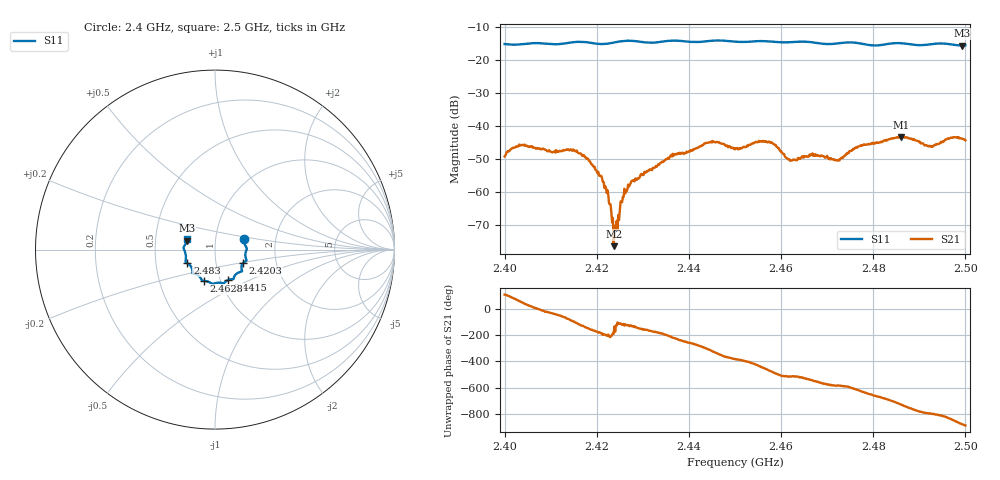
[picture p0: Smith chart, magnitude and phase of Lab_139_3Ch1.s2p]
# Hz S RI R 50
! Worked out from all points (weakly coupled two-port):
!   601 points, 2.4 GHz to 2.5 GHz, reference 50 ohm
!   highest |S21| = -43.33 dB at 2.486 GHz (marker M1); lowest = -76.3 dB at 2.4237 GHz (marker M2)
!   lowest |S11| = -15.7 dB at 2.4993 GHz (marker M3), VSWR 1.39, Z = 36.4 + j3.67 ohm
!   |S11| at or under -10 dB: start of sweep to end of sweep
!   S12 and S22 are empty: the file has one direction only
!   S11 on the Smith chart (normalised r, x): 2.4 GHz: 1.38, +0.16; 2.4203 GHz: 1.35, -0.21; 2.4415 GHz: 1.09, -0.38; 2.4628 GHz: 0.83, -0.30; 2.483 GHz: 0.73, -0.11; 2.5 GHz: 0.73, +0.09
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2.4e9  0.1624 0.0563  -0.00109 0.00328  0 0  0 0
2.403667e9  0.1693 0.0214  0.0032 0.00395  0 0  0 0
2.416667e9  0.1753 -0.062  -0.00231 -0.00297  0 0  0 0
2.420333e9  0.1561 -0.0747  -0.00202 3.11e-05  0 0  0 0
2.422e9  0.1487 -0.0887  -0.00107 0.000441  0 0  0 0
2.423667e9  0.1475 -0.1048  -0.000151 2.68e-05  0 0  0 0
2.424167e9  0.1482 -0.1088  -0.000163 -0.000216  0 0  0 0
2.425667e9  0.1505 -0.1177  -0.000393 -0.000754  0 0  0 0
2.427333e9  0.1495 -0.1216  -0.000815 -0.00108  0 0  0 0
2.433333e9  0.1085 -0.1478  -0.00262 0.000163  0 0  0 0
2.4415e9  0.0733 -0.169  0.000175 0.00457  0 0  0 0
2.45e9  0.0294 -0.1847  0.00411 -0.00167  0 0  0 0
2.457e9  -0.018 -0.1888  -0.00133 -0.00549  0 0  0 0
2.462833e9  -0.0623 -0.1744  -0.00275 -0.00138  0 0  0 0
2.466667e9  -0.0753 -0.167  -0.00365 0.000262  0 0  0 0
2.472167e9  -0.1116 -0.1355  -0.00214 0.00212  0 0  0 0
2.483e9  -0.1539 -0.0766  0.00519 0.0031  0 0  0 0
2.483333e9  -0.1561 -0.0752  0.00566 0.00268  0 0  0 0
2.486e9  -0.1642 -0.0663  0.00672 -0.00109  0 0  0 0
2.492333e9  -0.1706 -0.00495  0.00107 -0.00482  0 0  0 0
2.499333e9  -0.1558 0.0491  -0.00603 -0.00219  0 0  0 0
2.5e9  -0.1539 0.0578  -0.00598 -0.00113  0 0  0 0
